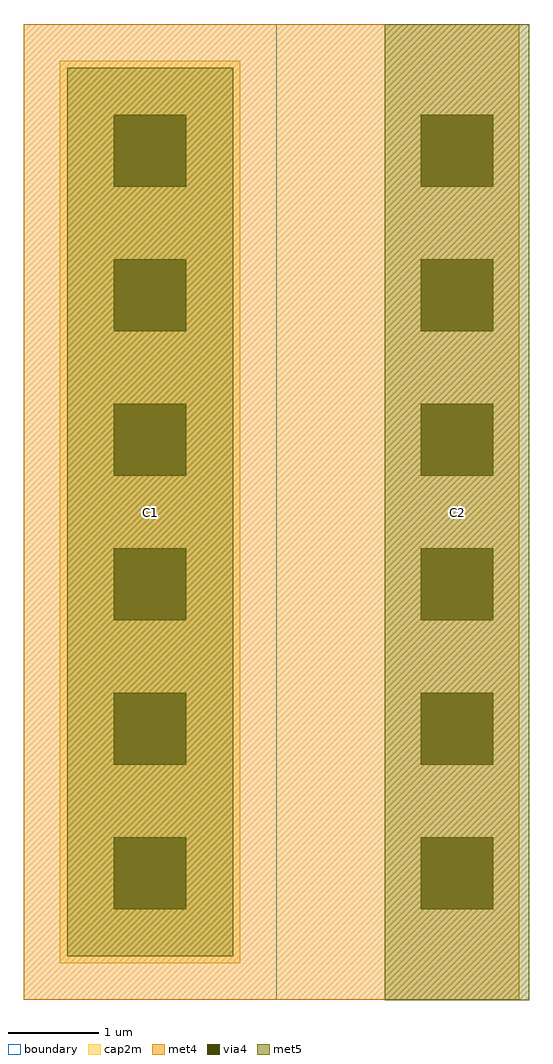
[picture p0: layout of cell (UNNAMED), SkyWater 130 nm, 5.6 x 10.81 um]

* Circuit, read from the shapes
.subckt (UNNAMED) C1 C2
XC1 C1 C2 sky130_fd_pr__cap_mim_m3_2 w=2 l=10
.ends

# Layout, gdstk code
import gdstk
lib = gdstk.Library(unit=1e-6, precision=1e-09)
def R(c, l, rs):  # rectangles x0, y0, x1, y1
    for r in rs: c.add(gdstk.rectangle(r[:2], r[2:], *l))
def A(c, l, x, y, w, h, nx, ny, dx, dy):  # array of equal rectangles
    R(c, l, [(x+i*dx, y+j*dy, x+i*dx+w, y+j*dy+h) for i in range(nx) for j in range(ny)])
met4 = (71, 20)
via4 = (71, 44)
met5 = (72, 20)
cap2m = (97, 44)
boundary = (235, 4)

c__unnamed_ = lib.new_cell('(UNNAMED)')
R(c__unnamed_, met4, [(-2.745,-5.4,2.745,5.4)])
A(c__unnamed_, via4, -1.745, -4.4, 0.8, 0.8, 1, 6, 0, 1.6)
A(c__unnamed_, via4, 1.655, -4.4, 0.8, 0.8, 1, 6, 0, 1.6)
R(c__unnamed_, met5, [(1.255,-5.405,2.855,5.405), (-2.265,-4.92,-0.425,4.92)])
R(c__unnamed_, cap2m, [(-2.345,-5,-0.345,5)])
R(c__unnamed_, boundary, [(-2.745,-5.4,0.055,5.4)])
c__unnamed_.add(gdstk.Label('C2', (2.055,0), layer=72, texttype=5))
c__unnamed_.add(gdstk.Label('C1', (-1.345,0), layer=72, texttype=5))

lib.write_gds('_UNNAMED_.gds')
